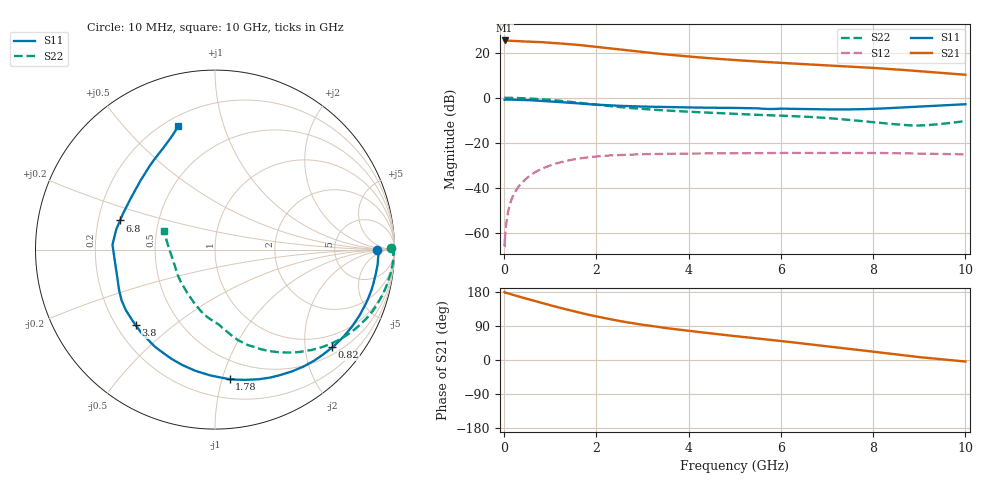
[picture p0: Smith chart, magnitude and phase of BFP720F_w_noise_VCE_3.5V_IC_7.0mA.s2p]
! Infineon Technologies  Discrete & RF Semiconductors
! BFP720F
! VCE =  3.5 V,  IC =  7.0 mA
! Common Emitter S-Parameters:  Jan 2016
# GHz  S  MA  R  50
!  f  S11  S21  S12  S22
! GHz  MAG  ANG  MAG  ANG  MAG  ANG  MAG  ANG
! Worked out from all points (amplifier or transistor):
!   233 points, 10 MHz to 10 GHz, reference 50 ohm
!   highest |S21| = 25.5 dB at 10 MHz (marker M1)
!   |S21| within 3 dB of that: start of sweep to 2.069 GHz
!   unconditionally stable (mu >= 1): start of sweep to 13.79 MHz; 7.239 GHz to end of sweep
!   at 200 MHz: K = 0.07, MSG = 34.3 dB, |S12| = -43.3 dB
!   at 1.74 GHz: K = 0.25, MSG = 25.0 dB, |S12| = -26.7 dB
!   at 10 GHz: K = 1.29, MAG = 14.5 dB, |S12| = -25.2 dB
!   lowest NFmin = 0.48 dB at 450 MHz
!   S11 on the Smith chart (normalised r, x): 10 MHz: 20, -0; 820 MHz: 0.66, -2.61; 1.78 GHz: 0.35, -1.06; 3.8 GHz: 0.28, -0.37; 6.8 GHz: 0.29, +0.14; 10 GHz: 0.25, +0.71
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0.01  0.904 -0.1  18.76 179.0  0.0007 -16.4  0.9828 0.5
0.015  0.9083 -0.5  18.61 178.1  0.0005 33.4  0.9895 -0.4
0.02  0.9126 -0.9  18.47 177.2  0.0008 75.4  0.9965 -1.2
0.05  0.9098 -2.6  18.61 177.3  0.0017 81.4  0.9942 -1.5
0.2  0.9049 -9.7  18.29 171.7  0.0068 82.8  0.9898 -6.2
0.44  0.8894 -21.2  17.82 163.3  0.0147 76.5  0.9718 -13.6
0.82  0.8506 -39.8  17.2 150.5  0.0264 65.9  0.9243 -24.9
1  0.8294 -48.3  16.72 144.6  0.0313 60.9  0.894 -30.1
1.28  0.7913 -61.4  15.88 135.6  0.038 53.5  0.8408 -37.8
1.68  0.7373 -79.5  14.68 123.5  0.0453 44.0  0.76 -47.9
1.78  0.7258 -83.6  14.31 120.7  0.0468 41.8  0.7411 -50.2
2.2  0.684 -99.3  12.83 109.9  0.0514 33.7  0.6657 -59.0
2.6  0.6551 -111.8  11.51 100.8  0.0539 27.2  0.6073 -65.7
3  0.6358 -122.0  10.38 93.0  0.0555 22.5  0.5629 -71.0
3.4  0.6211 -129.7  9.417 86.3  0.0564 18.5  0.5289 -74.7
3.8  0.6102 -136.3  8.611 80.0  0.057 15.2  0.5006 -77.6
4.5  0.6005 -145.8  7.492 69.8  0.0578 10.6  0.462 -81.7
5.1  0.5896 -152.5  6.777 61.9  0.0584 7.4  0.4338 -85.1
6.8  0.5533 162.9  5.378 39.1  0.0595 -0.2  0.3643 -99.7
8.4  0.5901 128.3  4.324 16.1  0.0586 -6.9  0.2611 -137.4
9  0.6346 117.1  3.887 7.6  0.057 -8.6  0.2413 -166.0
10  0.7166 106.7  3.242 -4.1  0.0549 -10.0  0.3031 159.7
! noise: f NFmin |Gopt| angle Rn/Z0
0.45  0.48  0.4  3  0.2
0.9  0.5  0.38  9  0.16
1.8  0.54  0.35  18  0.15
2.4  0.57  0.33  28  0.13
5.5  0.74  0.31  57  0.09
10  0.96  0.26  -100  0.16
